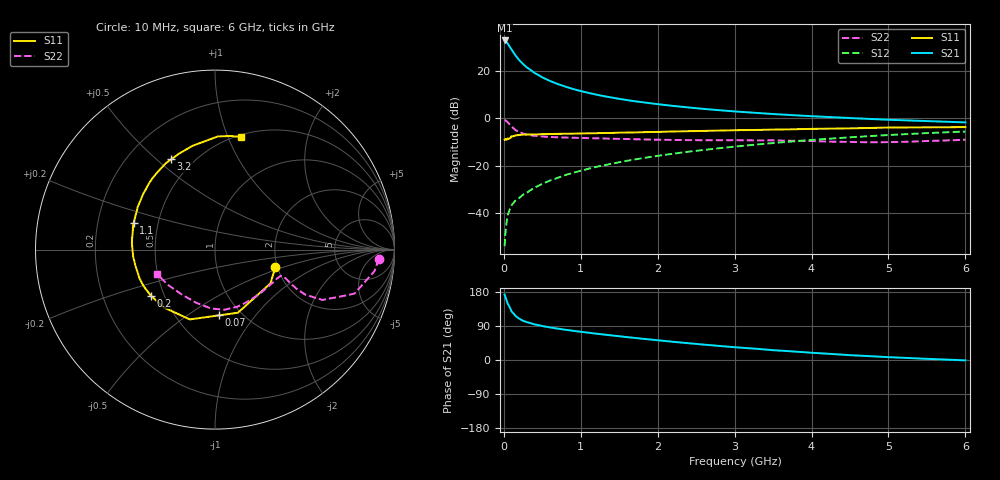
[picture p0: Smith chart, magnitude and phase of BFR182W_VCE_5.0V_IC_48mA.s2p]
! Infineon Technologies  Discrete & RF Semiconductors
! BFR182W
! VCE =  5.0 V,  IC =  48 mA
! Common Emitter S-Parameters:  Jan 2017
# GHz  S  MA  R  50
!  f  S11  S21  S12  S22
! GHz  MAG  ANG  MAG  ANG  MAG  ANG  MAG  ANG
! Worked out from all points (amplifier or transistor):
!   77 points, 10 MHz to 6 GHz, reference 50 ohm
!   highest |S21| = 32.7 dB at 10 MHz (marker M1)
!   |S21| within 3 dB of that: start of sweep to 83.09 MHz
!   unconditionally stable (mu >= 1): 349.5 MHz to 2.318 GHz
!   at 130 MHz: K = 0.64, MSG = 31.5 dB, |S12| = -35.5 dB
!   at 2.2 GHz: K = 1.01, MAG = 9.4 dB, |S12| = -15.0 dB
!   at 6 GHz: K = 0.90, MSG = 1.9 dB, |S12| = -5.7 dB
!   S11 on the Smith chart (normalised r, x): 10 MHz: 1.95, -0.43; 70 MHz: 0.79, -0.67; 200 MHz: 0.42, -0.27; 1.1 GHz: 0.36, +0.14; 3.2 GHz: 0.38, +0.56; 6 GHz: 0.52, +1.12
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0.01  0.3505 -16.0  43.09 172.8  0.002 80.5  0.9139 -3.3
0.02  0.3617 -31.4  42.94 166.3  0.0036 87.0  0.8973 -7.6
0.05  0.3741 -70.0  37.28 148.4  0.0089 67.7  0.8152 -17.5
0.07  0.3671 -86.8  33 141.7  0.0111 65.6  0.7523 -20.2
0.1  0.4135 -109.8  27.73 128.2  0.0144 63.6  0.6617 -25.1
0.15  0.4301 -131.4  21.02 116.5  0.0182 61.7  0.5614 -26.5
0.2  0.4401 -144.3  16.64 109.0  0.0207 63.8  0.5052 -25.7
0.25  0.4472 -153.1  13.72 103.5  0.0243 63.9  0.4712 -24.5
0.3  0.4501 -159.4  11.61 99.8  0.0268 66.6  0.4473 -23.4
0.4  0.4523 -168.6  8.908 93.9  0.034 69.9  0.4225 -22.0
0.5  0.4576 -175.1  7.193 89.6  0.0412 72.3  0.4088 -21.6
0.6  0.4603 179.6  6.049 86.0  0.0483 72.2  0.3992 -21.6
0.7  0.4645 175.5  5.215 82.8  0.0551 74.8  0.3933 -22.1
0.9  0.4683 168.0  4.089 77.1  0.0703 75.4  0.3847 -24.1
1.1  0.4773 161.7  3.389 72.1  0.0855 75.7  0.3776 -26.6
1.5  0.492 151.1  2.535 62.7  0.1171 74.9  0.3637 -33.2
2.1  0.5152 137.2  1.879 50.1  0.1683 71.9  0.3475 -46.4
3.1  0.5562 117.7  1.344 32.3  0.2591 63.9  0.3397 -71.6
3.2  0.559 115.9  1.311 30.8  0.2686 62.9  0.3386 -74.0
4.1  0.5939 100.8  1.074 17.9  0.3549 53.8  0.3241 -96.9
5.1  0.6319 87.2  0.908 6.6  0.4471 42.4  0.3127 -130.4
6  0.6443 76.8  0.81 -0.9  0.5212 31.8  0.35 -157.5
